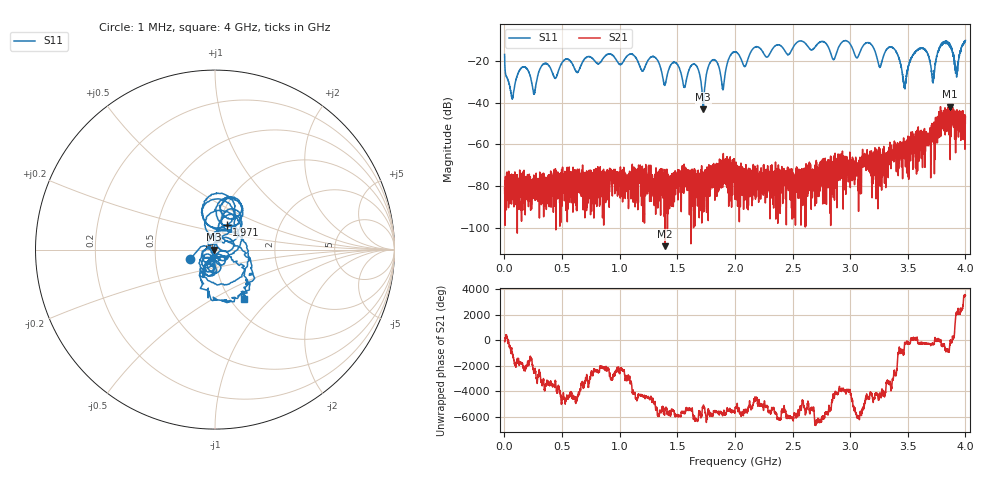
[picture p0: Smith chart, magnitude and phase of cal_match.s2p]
!Created with skrf (http://scikit-rf.org).
# GHz S RI R 50.0
!freq ReS11 ImS11 ReS21 ImS21 ReS12 ImS12 ReS22 ImS22
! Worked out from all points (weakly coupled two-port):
!   4000 points, 1 MHz to 4 GHz, reference 50 ohm
!   highest |S21| = -41.80 dB at 3.863 GHz (marker M1); lowest = -108.9 dB at 1.393 GHz (marker M2)
!   lowest |S11| = -43.0 dB at 1.724 GHz (marker M3), VSWR 1.01, Z = 49.3 + j0.0244 ohm
!   |S11| at or under -10 dB: start of sweep to 2.961 GHz; 2.961 GHz to 3.999 GHz (1.038 GHz wide, 29.8 % of centre)
!   S12 and S22 are empty: the file has one direction only
!   S11 on the Smith chart (normalised r, x): 1 MHz: 0.76, -0.08; 1.971 GHz: 1.09, +0.31; 4 GHz: 1.09, -0.69
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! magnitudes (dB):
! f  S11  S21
! 1 MHz  -16.7  -81.0
! 66 MHz  -37.2  -79.1
! 159 MHz  -22.8  -75.4
! 257 MHz  -35.4  -80.9
! 343 MHz  -21.1  -79.4
! 668 MHz  -21.4  -73.5
! 1.334 GHz  -20.1  -78.8
! 1.393 GHz  -31.1  -108.9
! 1.647 GHz  -21.4  -74.4
! 1.724 GHz  -43.0  -75.8
! 1.791 GHz  -20.1  -74.2
! 1.896 GHz  -33.6  -74.4
! 1.971 GHz  -16.3  -90.2
! 2.001 GHz  -15.4  -86.4
! 2.667 GHz  -14.4  -80.4
! 3.334 GHz  -13.4  -69.9
! 3.472 GHz  -32.7  -59.8
! 3.586 GHz  -14.6  -58.2
! 3.717 GHz  -28.5  -52.0
! 3.863 GHz  -11.3  -41.8
! 3.922 GHz  -24.5  -48.0
! 4 GHz  -10.0  -46.6
